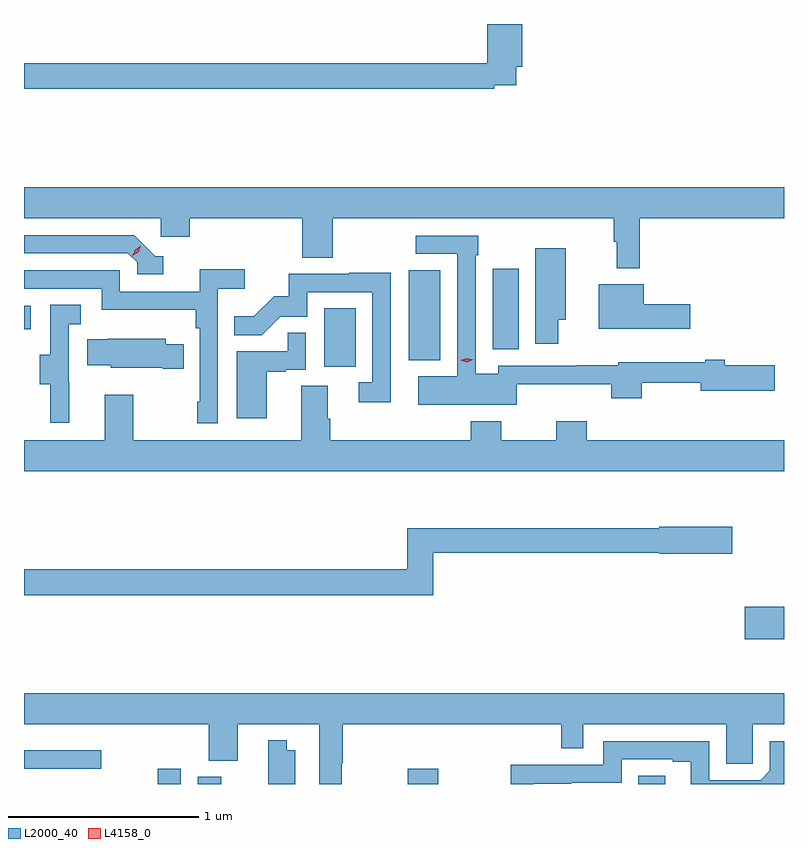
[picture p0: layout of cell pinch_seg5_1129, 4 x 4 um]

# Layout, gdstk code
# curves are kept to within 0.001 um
import gdstk
lib = gdstk.Library(unit=1e-6, precision=1e-09)
def R(c, l, rs):  # rectangles x0, y0, x1, y1
    for r in rs: c.add(gdstk.rectangle(r[:2], r[2:], *l))
def P(c, l, *ps):  # polygons
    for p in ps: c.add(gdstk.Polygon(p, *l))
L2000_40 = (2000, 40)
L4158_0 = (4158, 0)

pinch_seg5_1129 = lib.new_cell('pinch_seg5_1129')
R(pinch_seg5_1129, L2000_40, [(879.548,839.13,879.667,839.209), (879.758,839.13,879.88,839.167), (880.862,839.13,881.023,839.209), (882.077,839.13,882.217,839.174), (878.843,839.211,879.25,839.308), (882.636,839.891,882.843,840.062), (880.424,841.326,880.588,841.633), (880.868,841.361,881.035,841.835), (881.309,841.417,881.446,841.843), (878.843,841.523,878.878,841.647)])
P(pinch_seg5_1129, L2000_40, [(881.318,842.808),(881.435,842.808),(881.435,842.906),(881.465,842.906),(881.465,843.13),(881.282,843.13),(881.282,842.924),(878.843,842.924),(878.843,842.788),(881.318,842.788)],
  [(878.843,842.108),(879.564,842.108),(879.564,842.01),(879.716,842.01),(879.716,842.108),(880.307,842.108),(880.307,841.9),(880.467,841.9),(880.467,842.108),(881.947,842.108),(881.947,841.985),(881.962,841.985),(881.962,841.845),(882.083,841.845),(882.083,842.108),(882.843,842.108),(882.843,842.272),(878.843,842.272)],
  [(879.577,841.908),(879.534,841.908),(879.423,842.019),(878.843,842.019),(878.843,841.923),(879.39,841.923),(879.438,841.875),(879.438,841.812),(879.577,841.812)],
  [(881.436,841.235),(881.933,841.235),(881.933,841.16),(882.093,841.16),(882.093,841.242),(882.404,841.242),(882.404,841.199),(882.793,841.199),(882.793,841.334),(882.532,841.334),(882.532,841.363),(882.428,841.363),(882.428,841.351),(881.97,841.351),(881.97,841.334),(881.752,841.334),(881.752,841.332),(881.34,841.332),(881.34,841.288),(881.22,841.288),(881.22,841.913),(881.233,841.913),(881.233,842.016),(880.905,842.016),(880.905,841.92),(881.124,841.92),(881.124,841.276),(880.917,841.276),(880.917,841.127),(881.436,841.127)],
  [(881.656,841.574),(881.695,841.574),(881.695,841.951),(881.534,841.951),(881.534,841.446),(881.656,841.446)],
  [(879.864,841.736),(880.006,841.736),(880.006,841.838),(879.767,841.838),(879.767,841.722),(879.348,841.722),(879.348,841.833),(878.843,841.833),(878.843,841.737),(879.252,841.737),(879.252,841.625),(879.748,841.625),(879.748,841.529),(879.768,841.529),(879.768,841.141),(879.756,841.141),(879.756,841.029),(879.864,841.029)],
  [(880.773,841.82),(880.555,841.82),(880.555,841.815),(880.237,841.815),(880.237,841.698),(880.16,841.698),(880.053,841.591),(879.949,841.591),(879.949,841.492),(880.093,841.492),(880.191,841.59),(880.335,841.59),(880.335,841.719),(880.677,841.719),(880.677,841.245),(880.605,841.245),(880.605,841.14),(880.773,841.14)],
  [(882.349,841.656),(882.106,841.656),(882.106,841.759),(881.867,841.759),(881.867,841.526),(882.349,841.526)],
  [(879.08,841.245),(879.078,841.245),(879.078,841.549),(879.142,841.549),(879.142,841.652),(878.982,841.652),(878.982,841.389),(878.927,841.389),(878.927,841.234),(878.981,841.234),(878.981,841.032),(879.08,841.032)],
  [(880.12,841.299),(880.22,841.299),(880.22,841.311),(880.326,841.311),(880.326,841.505),(880.231,841.505),(880.231,841.407),(879.962,841.407),(879.962,841.056),(880.12,841.056)],
  [(879.683,841.444),(879.589,841.444),(879.589,841.474),(879.283,841.474),(879.283,841.471),(879.175,841.471),(879.175,841.334),(879.3,841.334),(879.3,841.322),(879.572,841.322),(879.572,841.315),(879.683,841.315)],
  [(882.843,840.94),(881.804,840.94),(881.804,841.039),(881.644,841.039),(881.644,840.94),(881.355,840.94),(881.355,841.039),(881.195,841.039),(881.195,840.94),(880.454,840.94),(880.454,841.052),(880.441,841.052),(880.441,841.226),(880.301,841.226),(880.301,840.94),(879.417,840.94),(879.417,841.18),(879.269,841.18),(879.269,840.94),(878.843,840.94),(878.843,840.776),(882.843,840.776)],
  [(880.997,840.346),(882.186,840.346),(882.186,840.341),(882.571,840.341),(882.571,840.483),(882.186,840.483),(882.186,840.475),(880.861,840.475),(880.861,840.26),(878.843,840.26),(878.843,840.124),(880.997,840.124)],
  [(880.515,839.24),(880.52,839.24),(880.52,839.444),(881.671,839.444),(881.671,839.317),(881.787,839.317),(881.787,839.444),(882.539,839.444),(882.539,839.236),(882.678,839.236),(882.678,839.444),(882.843,839.444),(882.843,839.608),(878.843,839.608),(878.843,839.444),(879.815,839.444),(879.815,839.252),(879.967,839.252),(879.967,839.444),(880.397,839.444),(880.397,839.13),(880.515,839.13)],
  [(880.27,839.308),(880.225,839.308),(880.225,839.359),(880.128,839.359),(880.128,839.13),(880.27,839.13)],
  [(881.527,839.131),(881.723,839.131),(881.723,839.136),(881.988,839.136),(881.988,839.259),(882.257,839.259),(882.257,839.247),(882.353,839.247),(882.353,839.13),(882.843,839.13),(882.843,839.355),(882.768,839.355),(882.768,839.199),(882.72,839.151),(882.45,839.151),(882.45,839.355),(881.892,839.355),(881.892,839.232),(881.406,839.232),(881.406,839.13)])
P(pinch_seg5_1129, L4158_0, [(881.173,841.351),(881.138,841.359),(881.138,841.359),(881.138,841.359),(881.172,841.371),(881.207,841.362),(881.208,841.362),(881.207,841.362)],
  [(879.413,841.91),(879.413,841.91),(879.428,841.943),(879.458,841.964),(879.458,841.964),(879.458,841.963),(879.443,841.93),(879.413,841.91)])

lib.write_gds('pinch_seg5_1129.gds')
